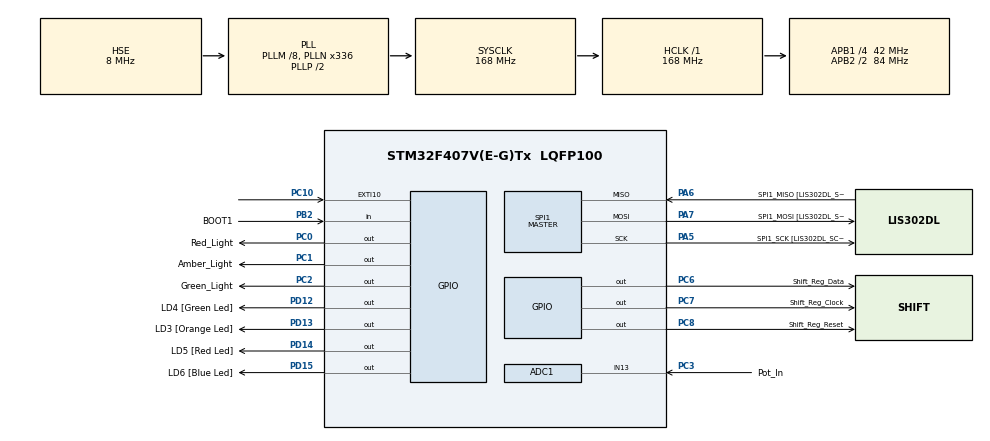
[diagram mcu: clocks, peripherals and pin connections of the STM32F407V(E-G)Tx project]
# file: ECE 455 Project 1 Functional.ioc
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ADC1.Channel-0\#ChannelRegularConversion=ADC_CHANNEL_13
ADC1.NbrOfConversionFlag=1
ADC1.Rank-0\#ChannelRegularConversion=1
ADC1.SamplingTime-0\#ChannelRegularConversion=ADC_SAMPLETIME_3CYCLES
ADC1.master=1
FREERTOS.Mutexes01=cars_array_mutex,Dynamic,NULL;traffic_rate_2_mutex,Dynamic,NULL;light_status_mutex,Dynamic,NULL;traffic_rate_1_mutex,Dynamic,NULL;car_timing_mutex,Dynamic,NULL;pot_timer_mutex,Dynamic,NULL;light_timer_mutex,Dynamic,NULL
FREERTOS.Queues01=traffic_queue_1,16,uint16_t,0,Dynamic,NULL,NULL;traffic_queue_2,16,uint16_t,0,Dynamic,NULL,NULL;cars_array_queue,16,uint32_t,0,Dynamic,NULL,NULL;light_status_queue,16,uint16_t,0,Dynamic,NULL,NULL;car_timer_queue,16,uint16_t,0,Dynamic,NULL,NULL;pot_timer_queue,16,uint16_t,0,Dynamic,NULL,NULL;light_timer_queue,16,uint16_t,0,Dynamic,NULL,NULL
FREERTOS.Tasks01=defaultTask,0,128,StartDefaultTask,Default,NULL,Dynamic,NULL,NULL;adjust_flow,-3,128,AdjustFlow,Default,NULL,Dynamic,NULL,NULL;light_state,-3,128,LightState,Default,NULL,Dynamic,NULL,NULL;sys_manage,-3,128,SysManage,Default,NULL,Dynamic,NULL,NULL
FREERTOS.Timers01=car_movement_timer,car_movement_callback,osTimerPeriodic,Default,NULL,Dynamic,NULL
FREERTOS.configUSE_NEWLIB_REENTRANT=0
FREERTOS.configUSE_TIMERS=1
Mcu.Family=STM32F4
Mcu.Name=STM32F407V(E-G)Tx
Mcu.Package=LQFP100
NVIC.PriorityGroup=NVIC_PRIORITYGROUP_4
NVIC.TIM3_IRQn=true\:5\:0\:false\:false\:true\:true\:true\:true\:true
NVIC.TIM4_IRQn=true\:15\:0\:false\:false\:true\:false\:false\:true\:true
NVIC.TimeBase=TIM4_IRQn
NVIC.TimeBaseIP=TIM4
PA13.GPIO_Label=SWDIO
PA13.Mode=Serial_Wire
PA13.Signal=SYS_JTMS-SWDIO
PA14.GPIO_Label=SWCLK
PA14.Mode=Serial_Wire
PA14.Signal=SYS_JTCK-SWCLK
PA5.GPIO_Label=SPI1_SCK [LIS302DL_SCL/SPC]
PA5.GPIO_Mode=GPIO_MODE_AF_PP
PA5.GPIO_PuPd=GPIO_NOPULL
PA5.GPIO_Speed=GPIO_SPEED_FREQ_LOW
PA5.Mode=Full_Duplex_Master
PA5.Signal=SPI1_SCK
PA6.GPIO_Label=SPI1_MISO [LIS302DL_SDO]
PA6.GPIO_Mode=GPIO_MODE_AF_PP
PA6.GPIO_PuPd=GPIO_NOPULL
PA6.GPIO_Speed=GPIO_SPEED_FREQ_LOW
PA6.Mode=Full_Duplex_Master
PA6.Signal=SPI1_MISO
PA7.GPIO_Label=SPI1_MOSI [LIS302DL_SDA/SDI/SDO]
PA7.GPIO_Mode=GPIO_MODE_AF_PP
PA7.GPIO_PuPd=GPIO_NOPULL
PA7.GPIO_Speed=GPIO_SPEED_FREQ_LOW
PA7.Mode=Full_Duplex_Master
PA7.Signal=SPI1_MOSI
PB2.GPIO_Label=BOOT1
PB2.GPIO_Mode=GPIO_MODE_INPUT
PB2.GPIO_PuPd=GPIO_NOPULL
PB2.Signal=GPIO_Input
PB3.GPIO_Label=SWO
PB3.Signal=SYS_JTDO-SWO
PC0.GPIO_Label=Red_Light
PC0.Signal=GPIO_Output
PC1.GPIO_Label=Amber_Light
PC1.Signal=GPIO_Output
PC10.Signal=GPXTI10
PC14-OSC32_IN.GPIO_Label=PC14-OSC32_IN
PC14-OSC32_IN.Mode=LSE-External-Oscillator
PC14-OSC32_IN.Signal=RCC_OSC32_IN
PC15-OSC32_OUT.GPIO_Label=PC15-OSC32_OUT
PC15-OSC32_OUT.Mode=LSE-External-Oscillator
PC15-OSC32_OUT.Signal=RCC_OSC32_OUT
PC2.GPIO_Label=Green_Light
PC2.Signal=GPIO_Output
PC3.GPIO_Label=Pot_In
PC3.Signal=ADCx_IN13
PC6.GPIO_Label=Shift_Reg_Data
PC6.Signal=GPIO_Output
PC7.GPIO_Label=Shift_Reg_Clock
PC7.Signal=GPIO_Output
PC8.GPIO_Label=Shift_Reg_Reset
PC8.Signal=GPIO_Output
PD12.GPIO_Label=LD4 [Green Led]
PD12.GPIO_PuPd=GPIO_NOPULL
PD12.GPIO_Speed=GPIO_SPEED_FREQ_LOW
PD12.Signal=GPIO_Output
PD13.GPIO_Label=LD3 [Orange Led]
PD13.GPIO_PuPd=GPIO_NOPULL
PD13.GPIO_Speed=GPIO_SPEED_FREQ_LOW
PD13.Signal=GPIO_Output
PD14.GPIO_Label=LD5 [Red Led]
PD14.GPIO_PuPd=GPIO_NOPULL
PD14.GPIO_Speed=GPIO_SPEED_FREQ_LOW
PD14.Signal=GPIO_Output
PD15.GPIO_Label=LD6 [Blue Led]
PD15.GPIO_PuPd=GPIO_NOPULL
PD15.GPIO_Speed=GPIO_SPEED_FREQ_LOW
PD15.Signal=GPIO_Output
PH0-OSC_IN.GPIO_Label=PH0-OSC_IN
PH0-OSC_IN.Mode=HSE-External-Oscillator
PH0-OSC_IN.Signal=RCC_OSC_IN
PH1-OSC_OUT.GPIO_Label=PH1-OSC_OUT
PH1-OSC_OUT.Mode=HSE-External-Oscillator
PH1-OSC_OUT.Signal=RCC_OSC_OUT
ProjectManager.HeapSize=0x200
ProjectManager.StackSize=0x400
ProjectManager.TargetToolchain=STM32CubeIDE
RCC.48MHZClocksFreq_Value=48000000
RCC.AHBFreq_Value=168000000
RCC.APB1CLKDivider=RCC_HCLK_DIV4
RCC.APB1Freq_Value=42000000
RCC.APB1TimFreq_Value=84000000
RCC.APB2CLKDivider=RCC_HCLK_DIV2
RCC.APB2Freq_Value=84000000
RCC.APB2TimFreq_Value=168000000
RCC.CortexFreq_Value=168000000
RCC.HCLKFreq_Value=168000000
RCC.HSE_VALUE=8000000
RCC.HSI_VALUE=16000000
RCC.PLLM=8
RCC.PLLN=336
RCC.PLLQ=7
RCC.PLLSourceVirtual=RCC_PLLSOURCE_HSE
RCC.SYSCLKFreq_VALUE=168000000
RCC.SYSCLKSource=RCC_SYSCLKSOURCE_PLLCLK
RCC.VCOOutputFreq_Value=336000000
SH.ADCx_IN13.0=ADC1_IN13,IN13
SPI1.BaudRatePrescaler-Full_Duplex_Master=SPI_BAUDRATEPRESCALER_2
SPI1.CalculateBaudRate-Full_Duplex_Master=42.0 MBits/s
SPI1.Direction=SPI_DIRECTION_2LINES
SPI1.Mode=SPI_MODE_MASTER
SPI1.Mode-Full_Duplex_Master=SPI_MODE_MASTER
SPI1.VirtualType=VM_MASTER
TIM1.Period=8599
TIM1.Prescaler=9999
TIM3.Period=9999
TIM3.Prescaler=8599
VP_FREERTOS_VS_CMSIS_V1.Mode=CMSIS_V1
VP_SYS_VS_tim4.Mode=TIM4
VP_TIM1_VS_ClockSourceINT.Mode=Internal
VP_TIM3_VS_ClockSourceINT.Mode=Internal
board=STM32F407G-DISC1

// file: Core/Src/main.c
/* USER CODE BEGIN Header */
/**
 ******************************************************************************
 * @file           : main.c
 * @brief          : Main program body
 ******************************************************************************
 * @attention
 *
 * Copyright (c) 2024 STMicroelectronics.
 * All rights reserved.
 *
 * This software is licensed under terms that can be found in the LICENSE file
 * in the root directory of this software component.
 * If no LICENSE file comes with this software, it is provided AS-IS.
 *
 ******************************************************************************
 */
/* USER CODE END Header */
#include "main.h"
#include "cmsis_os.h"

/* USER CODE BEGIN Includes */
#include <stdlib.h>
#include <time.h>
/* USER CODE END Includes */

ADC_HandleTypeDef hadc1;

SPI_HandleTypeDef hspi1;

TIM_HandleTypeDef htim1;
TIM_HandleTypeDef htim3;

osThreadId defaultTaskHandle;
osThreadId adjust_flowHandle;
osThreadId light_stateHandle;
osThreadId sys_manageHandle;
osMessageQId traffic_queue_1Handle;
osMessageQId traffic_queue_2Handle;
osMessageQId cars_array_queueHandle;
osMessageQId light_status_queueHandle;
osMessageQId car_timer_queueHandle;
osMessageQId pot_timer_queueHandle;
osMessageQId light_timer_queueHandle;
osTimerId car_movement_timerHandle;
osMutexId cars_array_mutexHandle;
osMutexId traffic_rate_2_mutexHandle;
osMutexId light_status_mutexHandle;
osMutexId traffic_rate_1_mutexHandle;
osMutexId car_timing_mutexHandle;
osMutexId pot_timer_mutexHandle;
osMutexId light_timer_mutexHandle;
/* USER CODE BEGIN PV */
int light_status;
int cars[16];
int traffic_rate;

/* USER CODE END PV */

void SystemClock_Config(void);
static void MX_GPIO_Init(void);
static void MX_SPI1_Init(void);
static void MX_ADC1_Init(void);
static void MX_TIM1_Init(void);
static void MX_TIM3_Init(void);
void StartDefaultTask(void const * argument);
void AdjustFlow(void const * argument);
void LightState(void const * argument);
void SysManage(void const * argument);
void car_movement_callback(void const * argument);

int main(void)
{
  /* USER CODE BEGIN 1 */
	srand(314159);
  /* USER CODE END 1 */

  /* MCU Configuration--------------------------------------------------------*/

  /* Reset of all peripherals, Initializes the Flash interface and the Systick. */
  HAL_Init();

  /* Configure the system clock */
  SystemClock_Config();

  /* Initialize all configured peripherals */
  MX_GPIO_Init();
  MX_SPI1_Init();
  MX_ADC1_Init();
  MX_TIM1_Init();
  MX_TIM3_Init();

  /* Create the mutex(es) */
  /* definition and creation of cars_array_mutex */
  osMutexDef(cars_array_mutex);
  cars_array_mutexHandle = osMutexCreate(osMutex(cars_array_mutex));

  /* definition and creation of traffic_rate_2_mutex */
  osMutexDef(traffic_rate_2_mutex);
  traffic_rate_2_mutexHandle = osMutexCreate(osMutex(traffic_rate_2_mutex));

  /* definition and creation of light_status_mutex */
  osMutexDef(light_status_mutex);
  light_status_mutexHandle = osMutexCreate(osMutex(light_status_mutex));

  /* definition and creation of traffic_rate_1_mutex */
  osMutexDef(traffic_rate_1_mutex);
  traffic_rate_1_mutexHandle = osMutexCreate(osMutex(traffic_rate_1_mutex));

  /* definition and creation of car_timing_mutex */
  osMutexDef(car_timing_mutex);
  car_timing_mutexHandle = osMutexCreate(osMutex(car_timing_mutex));

  /* definition and creation of pot_timer_mutex */
  osMutexDef(pot_timer_mutex);
  pot_timer_mutexHandle = osMutexCreate(osMutex(pot_timer_mutex));

  /* definition and creation of light_timer_mutex */
  osMutexDef(light_timer_mutex);
  light_timer_mutexHandle = osMutexCreate(osMutex(light_timer_mutex));

  /* Create the timer(s) */
  /* definition and creation of car_movement_timer */
  osTimerDef(car_movement_timer, car_movement_callback);
  car_movement_timerHandle = osTimerCreate(osTimer(car_movement_timer), osTimerPeriodic, NULL);

  /* Create the queue(s) */
  /* definition and creation of traffic_queue_1 */
  osMessageQDef(traffic_queue_1, 16, uint16_t);
  traffic_queue_1Handle = osMessageCreate(osMessageQ(traffic_queue_1), NULL);

  /* definition and creation of traffic_queue_2 */
  osMessageQDef(traffic_queue_2, 16, uint16_t);
  traffic_queue_2Handle = osMessageCreate(osMessageQ(traffic_queue_2), NULL);

  /* definition and creation of cars_array_queue */
  osMessageQDef(cars_array_queue, 16, uint32_t);
  cars_array_queueHandle = osMessageCreate(osMessageQ(cars_array_queue), NULL);

  /* definition and creation of light_status_queue */
  osMessageQDef(light_status_queue, 16, uint16_t);
  light_status_queueHandle = osMessageCreate(osMessageQ(light_status_queue), NULL);

  /* definition and creation of car_timer_queue */
  osMessageQDef(car_timer_queue, 16, uint16_t);
  car_timer_queueHandle = osMessageCreate(osMessageQ(car_timer_queue), NULL);

  /* definition and creation of pot_timer_queue */
  osMessageQDef(pot_timer_queue, 16, uint16_t);
  pot_timer_queueHandle = osMessageCreate(osMessageQ(pot_timer_queue), NULL);

  /* definition and creation of light_timer_queue */
  osMessageQDef(light_timer_queue, 16, uint16_t);
  light_timer_queueHandle = osMessageCreate(osMessageQ(light_timer_queue), NULL);

  /* Create the thread(s) */
  /* definition and creation of defaultTask */
  osThreadDef(defaultTask, StartDefaultTask, osPriorityNormal, 0, 128);
  defaultTaskHandle = osThreadCreate(osThread(defaultTask), NULL);

  /* definition and creation of adjust_flow */
  osThreadDef(adjust_flow, AdjustFlow, osPriorityIdle, 0, 128);
  adjust_flowHandle = osThreadCreate(osThread(adjust_flow), NULL);

  /* definition and creation of light_state */
  osThreadDef(light_state, LightState, osPriorityIdle, 0, 128);
  light_stateHandle = osThreadCreate(osThread(light_state), NULL);

  /* definition and creation of sys_manage */
  osThreadDef(sys_manage, SysManage, osPriorityIdle, 0, 128);
  sys_manageHandle = osThreadCreate(osThread(sys_manage), NULL);

  /* USER CODE BEGIN RTOS_THREADS */
  osTimerStart(car_movement_timerHandle, 500);
	/* add threads, ... */
  /* USER CODE END RTOS_THREADS */

  /* Start scheduler */
  osKernelStart();

  /* We should never get here as control is now taken by the scheduler */
  /* Infinite loop */
	while (1)
	{

	}
}

void SystemClock_Config(void)
{
  RCC_OscInitTypeDef RCC_OscInitStruct = {0};
  RCC_ClkInitTypeDef RCC_ClkInitStruct = {0};

  /** Configure the main internal regulator output voltage
  */
  __HAL_RCC_PWR_CLK_ENABLE();
  __HAL_PWR_VOLTAGESCALING_CONFIG(PWR_REGULATOR_VOLTAGE_SCALE1);

  /** Initializes the RCC Oscillators according to the specified parameters
  * in the RCC_OscInitTypeDef structure.
  */
  RCC_OscInitStruct.OscillatorType = RCC_OSCILLATORTYPE_HSE;
  RCC_OscInitStruct.HSEState = RCC_HSE_ON;
  RCC_OscInitStruct.PLL.PLLState = RCC_PLL_ON;
  RCC_OscInitStruct.PLL.PLLSource = RCC_PLLSOURCE_HSE;
  RCC_OscInitStruct.PLL.PLLM = 8;
  RCC_OscInitStruct.PLL.PLLN = 336;
  RCC_OscInitStruct.PLL.PLLP = RCC_PLLP_DIV2;
  RCC_OscInitStruct.PLL.PLLQ = 7;
  if (HAL_RCC_OscConfig(&RCC_OscInitStruct) != HAL_OK)
  {
    Error_Handler();
  }

  /** Initializes the CPU, AHB and APB buses clocks
  */
  RCC_ClkInitStruct.ClockType = RCC_CLOCKTYPE_HCLK|RCC_CLOCKTYPE_SYSCLK
                              |RCC_CLOCKTYPE_PCLK1|RCC_CLOCKTYPE_PCLK2;
  RCC_ClkInitStruct.SYSCLKSource = RCC_SYSCLKSOURCE_PLLCLK;
  RCC_ClkInitStruct.AHBCLKDivider = RCC_SYSCLK_DIV1;
  RCC_ClkInitStruct.APB1CLKDivider = RCC_HCLK_DIV4;
  RCC_ClkInitStruct.APB2CLKDivider = RCC_HCLK_DIV2;

  if (HAL_RCC_ClockConfig(&RCC_ClkInitStruct, FLASH_LATENCY_5) != HAL_OK)
  {
    Error_Handler();
  }
}

static void MX_ADC1_Init(void)
{

  ADC_ChannelConfTypeDef sConfig = {0};

  /** Configure the global features of the ADC (Clock, Resolution, Data Alignment and number of conversion)
  */
  hadc1.Instance = ADC1;
  hadc1.Init.ClockPrescaler = ADC_CLOCK_SYNC_PCLK_DIV4;
  hadc1.Init.Resolution = ADC_RESOLUTION_12B;
  hadc1.Init.ScanConvMode = DISABLE;
  hadc1.Init.ContinuousConvMode = DISABLE;
  hadc1.Init.DiscontinuousConvMode = DISABLE;
  hadc1.Init.ExternalTrigConvEdge = ADC_EXTERNALTRIGCONVEDGE_NONE;
  hadc1.Init.ExternalTrigConv = ADC_SOFTWARE_START;
  hadc1.Init.DataAlign = ADC_DATAALIGN_RIGHT;
  hadc1.Init.NbrOfConversion = 1;
  hadc1.Init.DMAContinuousRequests = DISABLE;
  hadc1.Init.EOCSelection = ADC_EOC_SINGLE_CONV;
  if (HAL_ADC_Init(&hadc1) != HAL_OK)
  {
    Error_Handler();
  }

  /** Configure for the selected ADC regular channel its corresponding rank in the sequencer and its sample time.
  */
  sConfig.Channel = ADC_CHANNEL_13;
  sConfig.Rank = 1;
  sConfig.SamplingTime = ADC_SAMPLETIME_3CYCLES;
  if (HAL_ADC_ConfigChannel(&hadc1, &sConfig) != HAL_OK)
  {
    Error_Handler();
  }

}

static void MX_SPI1_Init(void)
{

  /* SPI1 parameter configuration*/
  hspi1.Instance = SPI1;
  hspi1.Init.Mode = SPI_MODE_MASTER;
  hspi1.Init.Direction = SPI_DIRECTION_2LINES;
  hspi1.Init.DataSize = SPI_DATASIZE_8BIT;
  hspi1.Init.CLKPolarity = SPI_POLARITY_LOW;
  hspi1.Init.CLKPhase = SPI_PHASE_1EDGE;
  hspi1.Init.NSS = SPI_NSS_SOFT;
  hspi1.Init.BaudRatePrescaler = SPI_BAUDRATEPRESCALER_2;
  hspi1.Init.FirstBit = SPI_FIRSTBIT_MSB;
  hspi1.Init.TIMode = SPI_TIMODE_DISABLE;
  hspi1.Init.CRCCalculation = SPI_CRCCALCULATION_DISABLE;
  hspi1.Init.CRCPolynomial = 10;
  if (HAL_SPI_Init(&hspi1) != HAL_OK)
  {
    Error_Handler();
  }

}

static void MX_TIM1_Init(void)
{

  TIM_ClockConfigTypeDef sClockSourceConfig = {0};
  TIM_MasterConfigTypeDef sMasterConfig = {0};

  htim1.Instance = TIM1;
  htim1.Init.Prescaler = 9999;
  htim1.Init.CounterMode = TIM_COUNTERMODE_UP;
  htim1.Init.Period = 8599;
  htim1.Init.ClockDivision = TIM_CLOCKDIVISION_DIV1;
  htim1.Init.RepetitionCounter = 0;
  htim1.Init.AutoReloadPreload = TIM_AUTORELOAD_PRELOAD_DISABLE;
  if (HAL_TIM_Base_Init(&htim1) != HAL_OK)
  {
    Error_Handler();
  }
  sClockSourceConfig.ClockSource = TIM_CLOCKSOURCE_INTERNAL;
  if (HAL_TIM_ConfigClockSource(&htim1, &sClockSourceConfig) != HAL_OK)
  {
    Error_Handler();
  }
  sMasterConfig.MasterOutputTrigger = TIM_TRGO_RESET;
  sMasterConfig.MasterSlaveMode = TIM_MASTERSLAVEMODE_DISABLE;
  if (HAL_TIMEx_MasterConfigSynchronization(&htim1, &sMasterConfig) != HAL_OK)
  {
    Error_Handler();
  }

}

static void MX_TIM3_Init(void)
{

  TIM_ClockConfigTypeDef sClockSourceConfig = {0};
  TIM_MasterConfigTypeDef sMasterConfig = {0};

  htim3.Instance = TIM3;
  htim3.Init.Prescaler = 8599;
  htim3.Init.CounterMode = TIM_COUNTERMODE_UP;
  htim3.Init.Period = 9999;
  htim3.Init.ClockDivision = TIM_CLOCKDIVISION_DIV1;
  htim3.Init.AutoReloadPreload = TIM_AUTORELOAD_PRELOAD_DISABLE;
  if (HAL_TIM_Base_Init(&htim3) != HAL_OK)
  {
    Error_Handler();
  }
  sClockSourceConfig.ClockSource = TIM_CLOCKSOURCE_INTERNAL;
  if (HAL_TIM_ConfigClockSource(&htim3, &sClockSourceConfig) != HAL_OK)
  {
    Error_Handler();
  }
  sMasterConfig.MasterOutputTrigger = TIM_TRGO_RESET;
  sMasterConfig.MasterSlaveMode = TIM_MASTERSLAVEMODE_DISABLE;
  if (HAL_TIMEx_MasterConfigSynchronization(&htim3, &sMasterConfig) != HAL_OK)
  {
    Error_Handler();
  }

}

static void MX_GPIO_Init(void)
{
  GPIO_InitTypeDef GPIO_InitStruct = {0};

  /* GPIO Ports Clock Enable */
  __HAL_RCC_GPIOC_CLK_ENABLE();
  __HAL_RCC_GPIOH_CLK_ENABLE();
  __HAL_RCC_GPIOA_CLK_ENABLE();
  __HAL_RCC_GPIOB_CLK_ENABLE();
  __HAL_RCC_GPIOD_CLK_ENABLE();

  /*Configure GPIO pin Output Level */
  HAL_GPIO_WritePin(GPIOC, Red_Light_Pin|Amber_Light_Pin|Green_Light_Pin|Shift_Reg_Data_Pin
                          |Shift_Reg_Clock_Pin|Shift_Reg_Reset_Pin, GPIO_PIN_RESET);

  /*Configure GPIO pin Output Level */
  HAL_GPIO_WritePin(GPIOD, LD4_Pin|LD3_Pin|LD5_Pin|LD6_Pin, GPIO_PIN_RESET);

  /*Configure GPIO pins : Red_Light_Pin Amber_Light_Pin Green_Light_Pin Shift_Reg_Data_Pin
                           Shift_Reg_Clock_Pin Shift_Reg_Reset_Pin */
  GPIO_InitStruct.Pin = Red_Light_Pin|Amber_Light_Pin|Green_Light_Pin|Shift_Reg_Data_Pin
                          |Shift_Reg_Clock_Pin|Shift_Reg_Reset_Pin;
  GPIO_InitStruct.Mode = GPIO_MODE_OUTPUT_PP;
  GPIO_InitStruct.Pull = GPIO_NOPULL;
  GPIO_InitStruct.Speed = GPIO_SPEED_FREQ_LOW;
  HAL_GPIO_Init(GPIOC, &GPIO_InitStruct);

  /*Configure GPIO pin : BOOT1_Pin */
  GPIO_InitStruct.Pin = BOOT1_Pin;
  GPIO_InitStruct.Mode = GPIO_MODE_INPUT;
  GPIO_InitStruct.Pull = GPIO_NOPULL;
  HAL_GPIO_Init(BOOT1_GPIO_Port, &GPIO_InitStruct);

  /*Configure GPIO pins : LD4_Pin LD3_Pin LD5_Pin LD6_Pin */
  GPIO_InitStruct.Pin = LD4_Pin|LD3_Pin|LD5_Pin|LD6_Pin;
  GPIO_InitStruct.Mode = GPIO_MODE_OUTPUT_PP;
  GPIO_InitStruct.Pull = GPIO_NOPULL;
  GPIO_InitStruct.Speed = GPIO_SPEED_FREQ_LOW;
  HAL_GPIO_Init(GPIOD, &GPIO_InitStruct);

  /*Configure GPIO pin : PC10 */
  GPIO_InitStruct.Pin = GPIO_PIN_10;
  GPIO_InitStruct.Mode = GPIO_MODE_IT_RISING;
  GPIO_InitStruct.Pull = GPIO_NOPULL;
  HAL_GPIO_Init(GPIOC, &GPIO_InitStruct);

}

void StartDefaultTask(void const * argument)
{
	for(;;)
	{
		osDelay(1);
	}
}

void AdjustFlow(void const * argument)
{
  /* USER CODE BEGIN AdjustFlow */
	uint16_t raw = 0;
	/* Infinite loop */
	for(;;)
	{
		osMutexWait(pot_timer_mutexHandle, osWaitForever);
		osEvent event = osMessageGet(pot_timer_queueHandle, 0);
		osMutexRelease(pot_timer_mutexHandle);
		if(event.status != osEventMessage){
			continue;
		}
		HAL_ADC_Start(&hadc1);
		HAL_ADC_PollForConversion(&hadc1, HAL_MAX_DELAY);
		raw = HAL_ADC_GetValue(&hadc1);
		if(raw > 2400){
			raw = 2400;
		}
		osMutexWait(traffic_rate_1_mutexHandle, osWaitForever);
		osMessageGet(traffic_queue_1Handle, 0);
		osMessagePut(traffic_queue_1Handle, raw, osWaitForever);
		osMutexRelease(traffic_rate_1_mutexHandle);

		osMutexWait(traffic_rate_2_mutexHandle, osWaitForever);
		osMessageGet(traffic_queue_2Handle, 0);
		osMessagePut(traffic_queue_2Handle, raw, osWaitForever);
		osMutexRelease(traffic_rate_2_mutexHandle);
		// osDelay(1);
	}

  /* USER CODE END AdjustFlow */
}

void LightState(void const * argument)
{
  /* USER CODE BEGIN LightState */
	uint16_t rate = 0;
	float scaled = 0;
	int scale_cap = 1;
	int scale_count = 0;
	/* Infinite loop */
	for(;;)
	{
		osMutexWait(traffic_rate_2_mutexHandle, osWaitForever);
		// int rate = traffic_rate; // TODO: traffic_queue_1
		osEvent event = osMessageGet(traffic_queue_2Handle, 0);
		if(event.status == osEventMessage){
			rate = event.value.v;
		}
		osMutexRelease(traffic_rate_2_mutexHandle);
		scaled = rate / 2400.0;
		// turn green LED on
		HAL_GPIO_WritePin(GPIOC, Red_Light_Pin, GPIO_PIN_RESET);
		HAL_GPIO_WritePin(GPIOC, Amber_Light_Pin, GPIO_PIN_RESET);
		HAL_GPIO_WritePin(GPIOC, Green_Light_Pin, GPIO_PIN_SET);

		osMutexWait(light_status_mutexHandle, osWaitForever);
		osMessagePut(light_status_queueHandle, 2, osWaitForever);
		osMutexRelease(light_status_mutexHandle);
		// light_status = 2; //TODO: light_queue_0
		// modulate traffic rate to 1
		// osDelay((uint32_t)(3000 + 3000 * scaled));
		scale_cap = (int)(3000 + 3000 * scaled)/500;
		osMutexWait(light_timer_mutexHandle, osWaitForever);
		event = osMessageGet(light_timer_queueHandle, 0);
		osMutexRelease(light_timer_mutexHandle);
		while(scale_count < scale_cap){
			if (event.status == osEventMessage){
				scale_count ++;
			}
			osMutexWait(light_timer_mutexHandle, osWaitForever);
			event = osMessageGet(light_timer_queueHandle, 0);
			osMutexRelease(light_timer_mutexHandle);
		}
		scale_count = 0;

		// turn yellow LED on
		HAL_GPIO_WritePin(GPIOC, Red_Light_Pin, GPIO_PIN_RESET);
		HAL_GPIO_WritePin(GPIOC, Amber_Light_Pin, GPIO_PIN_SET);
		HAL_GPIO_WritePin(GPIOC, Green_Light_Pin, GPIO_PIN_RESET);

		osMutexWait(light_status_mutexHandle, osWaitForever);
		osMessagePut(light_status_queueHandle, 1, osWaitForever);
		osMutexRelease(light_status_mutexHandle);
		// light_status = 1;
		scale_cap = 2;
		osMutexWait(light_timer_mutexHandle, osWaitForever);
		event = osMessageGet(light_timer_queueHandle, 0);
		osMutexRelease(light_timer_mutexHandle);
		while(scale_count < scale_cap){
			if (event.status == osEventMessage){
				scale_count ++;
			}
			osMutexWait(light_timer_mutexHandle, osWaitForever);
			event = osMessageGet(light_timer_queueHandle, 0);
			osMutexRelease(light_timer_mutexHandle);
		}
		scale_count = 0;

		osMutexWait(traffic_rate_2_mutexHandle, osWaitForever);
		event = osMessageGet(traffic_queue_2Handle, 0); //TODO: traffic_queue_1
		if(event.status == osEventMessage){
			rate = event.value.v;
		}
		osMutexRelease(traffic_rate_2_mutexHandle);
		scaled = rate / 2400.0;
		// turn red LED on
		HAL_GPIO_WritePin(GPIOC, Red_Light_Pin, GPIO_PIN_SET);
		HAL_GPIO_WritePin(GPIOC, Amber_Light_Pin, GPIO_PIN_RESET);
		HAL_GPIO_WritePin(GPIOC, Green_Light_Pin, GPIO_PIN_RESET);

		osMutexWait(light_status_mutexHandle, osWaitForever);
		osMessagePut(light_status_queueHandle, 0, osWaitForever);
		osMutexRelease(light_status_mutexHandle);
		// light_status = 0;
		// modulate traffic rate to 1
		// osDelay((uint32_t)(3000 + 3000 * (1-scaled)));
		scale_cap = (int)(3000 + 3000 * (1 - scaled))/500;
		osMutexWait(light_timer_mutexHandle, osWaitForever);
		event = osMessageGet(light_timer_queueHandle, 0);
		osMutexRelease(light_timer_mutexHandle);
		while(scale_count < scale_cap){
			if (event.status == osEventMessage){
				scale_count ++;
			}
			osMutexWait(light_timer_mutexHandle, osWaitForever);
			event = osMessageGet(light_timer_queueHandle, 0);
			osMutexRelease(light_timer_mutexHandle);
		}
		scale_count = 0;
	}
  /* USER CODE END LightState */
}

/* USER CODE BEGIN Header_SysManage */
/**
 * @brief Function implementing the sys_manage thread.
 * @param argument: Not used
 * @retval None
 */

int32_t convert_to_integer(int* traffic_array){
	int i;
	int32_t converted_number;
	for (i=0; i<19; i++){
		converted_number |= traffic_array[i] << (18-i);
	}
	return converted_number;
}

int trafficGenerated(){
	uint16_t traffic = 0;
	float scaled = 0;
	osMutexWait(traffic_rate_1_mutexHandle, osWaitForever);
	//int traffic = traffic_rate; //TODO: traffic_queue_0
	osEvent event = osMessageGet(traffic_queue_1Handle, 0);
	if(event.status == osEventMessage){
		traffic = event.value.v;
	}
	osMutexRelease(traffic_rate_1_mutexHandle);
	scaled = traffic / 2400.0;
	// modulate traffic rate from 1 to 10

	float random = (float)(rand() % 10);
	if (random < scaled*10) {
		return 1;
	}
	return 0;
}

/* USER CODE END Header_SysManage */
void SysManage(void const * argument)
{
  /* USER CODE BEGIN SysManage */
	/* Infinite loop */
	int i;
	int cars[19] = {};
	int cars_padded[21] = {};
	int light_colour = 0;
	for(;;)
	{
		osMutexWait(car_timing_mutexHandle, osWaitForever);
		osEvent event = osMessageGet(car_timer_queueHandle, 0);
		osMutexRelease(car_timing_mutexHandle);
		if(event.status != osEventMessage){
			osDelay(1);
			continue;
		}

		osMutexWait(light_status_mutexHandle, osWaitForever);
		event = osMessageGet(light_status_queueHandle, 0); //TODO: light_queue_0
		if(event.status == osEventMessage){
			light_colour = event.value.v;
		}
		osMutexRelease(light_status_mutexHandle);

		// osMutexWait(cars_array_mutexHandle); //TODO: cars_queue_0
		for (i = 18; i>0; i--){
			if (light_colour == 2) { //green
				cars[i] = cars[i-1];
				cars[i - 1] = 0;
			}
			else if (light_colour == 1) { //yellow
				if (i > 8) {
					cars[i] = cars[i-1];
					cars[i-1] = 0;
				}
				else {
					if (!cars[i]){
						cars[i] = cars[i-1];
						cars[i-1] = 0;
					}
				}
			}
			else { //red
				if (i > 8){
					cars[i] = cars[i-1];
					cars[i-1] = 0;
				}
				else if (i < 8){
					if (!cars[i]) {
						cars[i] = cars[i-1];
						cars[i-1] = 0;
					}
				}
			}
//			else {
//				if (i > 8){
//					cars[i] = cars[i-1];
//				}
//				else {
//
//					if (!cars[i]) {
//						cars[i] = cars[i-1];
//						cars[i-1] = 0;
//					}
//				}
//			}
		}
		if (trafficGenerated()){
			cars[0] = 1;
		}
		else {
			cars[0] = 0;
		}
		//int32_t cars_int = convert_to_integer(cars);
		// osMutexRelease(cars_array_mutexHandle);
		//osMutexWait(cars_array_mutexHandle, osWaitForever);
		// int* mail = (int *)osMailAlloc(cars_array_queueHandle, osWaitForever);
		//osMailPut(cars_array_queueHandle, cars);
		//osMessagePut(cars_array_queueHandle, cars_int, osWaitForever);
		//osMutexRelease(cars_array_mutexHandle);

		// Pad the shift registers with extra data in the 8th bit for each.
		for(i = 0; i < 19; i++){
			if(i >= 14){
				cars_padded[i+2] = cars[i];
			} else if(i >= 7){
				cars_padded[i+1] = cars[i];
			} else {
				cars_padded[i] = cars[i];
			}
		}

		HAL_GPIO_WritePin(GPIOC, Shift_Reg_Reset_Pin, GPIO_PIN_RESET);
		osDelay(1);
		HAL_GPIO_WritePin(GPIOC, Shift_Reg_Reset_Pin, GPIO_PIN_SET);
		//osDelay(1);
		for(i =20; i >= 0; i--){

			if(cars_padded[i] != 0){
				HAL_GPIO_WritePin(GPIOC, Shift_Reg_Data_Pin, GPIO_PIN_SET);
			}
			//osDelay(1);
			HAL_GPIO_WritePin(GPIOC, Shift_Reg_Clock_Pin, GPIO_PIN_SET);
			//osDelay(1);
			HAL_GPIO_WritePin(GPIOC, Shift_Reg_Clock_Pin, GPIO_PIN_RESET);
			HAL_GPIO_WritePin(GPIOC, Shift_Reg_Data_Pin, GPIO_PIN_RESET);
			//osDelay(1);
		}
		// osDelay(500);
	}
  /* USER CODE END SysManage */
}

/* car_movement_callback function */
void car_movement_callback(void const * argument)
{
  /* USER CODE BEGIN car_movement_callback */
	osMutexWait(car_timing_mutexHandle, osWaitForever);
	osMutexWait(pot_timer_mutexHandle, osWaitForever);
	osMutexWait(light_timer_mutexHandle, osWaitForever);

	osMessageGet(car_timer_queueHandle, 0);
	osMessagePut(car_timer_queueHandle, 1, osWaitForever);
	osMessagePut(pot_timer_queueHandle, 1, osWaitForever);
	osMessagePut(light_timer_queueHandle, 1, osWaitForever);

	osMutexRelease(light_timer_mutexHandle);
	osMutexRelease(pot_timer_mutexHandle);
	osMutexRelease(car_timing_mutexHandle);
  /* USER CODE END car_movement_callback */
}

void HAL_TIM_PeriodElapsedCallback(TIM_HandleTypeDef *htim)
{
  if (htim->Instance == TIM4) {
    HAL_IncTick();
  }
}

void Error_Handler(void)
{
	__disable_irq();
	while (1)
	{
	}
}
